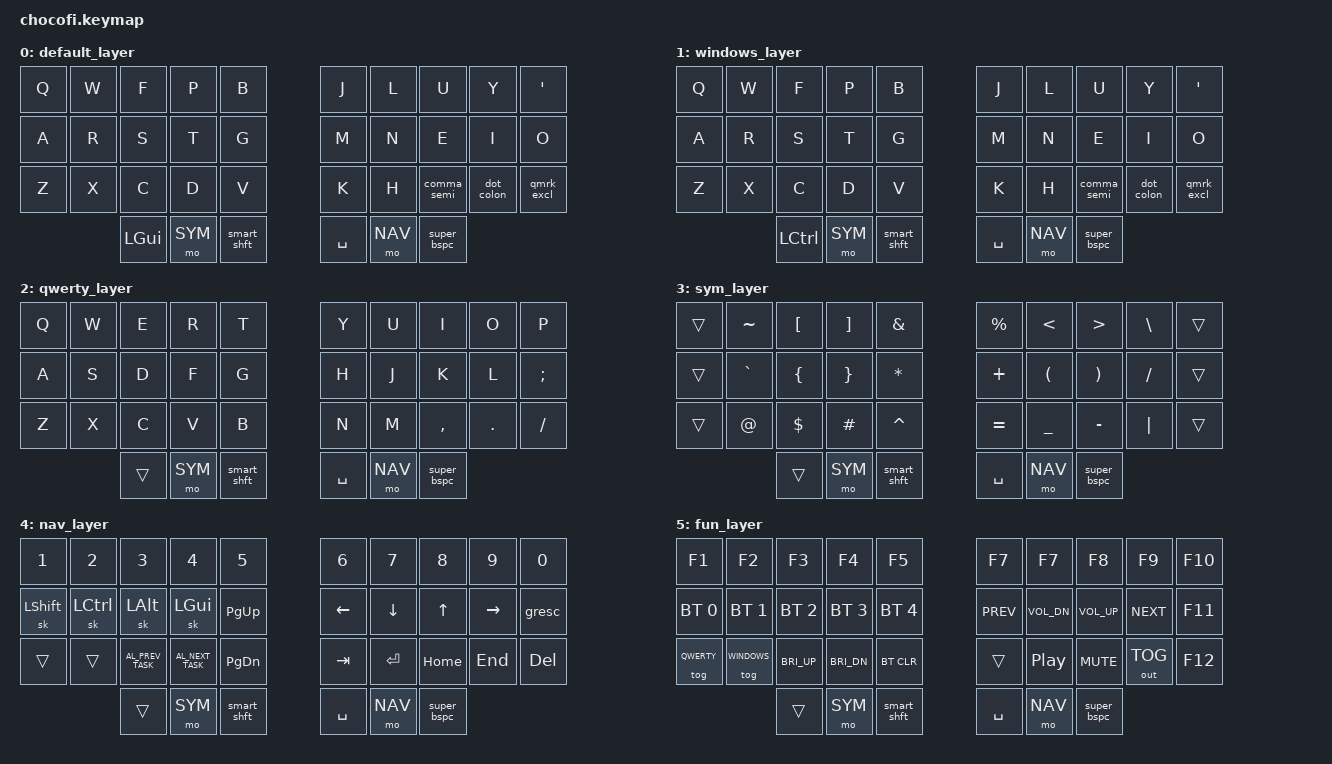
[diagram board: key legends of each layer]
/*
 * Copyright (c) 2020 The ZMK Contributors
 *
 * SPDX-License-Identifier: MIT
 */

#include <behaviors.dtsi>
#include <dt-bindings/zmk/keys.h>
#include <dt-bindings/zmk/bt.h>
#include <dt-bindings/zmk/outputs.h>

#define DEFAULT 0       /* Colemak-DHm */
#define WINDOWS 1       /* Toggled layer */
#define QWERTY 2        /* Toggled layer */
#define SYM 3           /* Symbols */
#define NAV 4           /* Navigation and Numbers */
#define FUN 5           /* Function, Media, Bluetooth, Layer toggle */

#define PT C_AL_PREV_TASK
#define NT C_AL_NEXT_TASK

/ {
    conditional_layers {
        compatible = "zmk,conditional-layers";
        tri_layer {
            if-layers = <SYM NAV>;
            then-layer = <FUN>;
        };
    };
    behaviors {
        bspc_del: backspace_delete {
            compatible = "zmk,behavior-mod-morph";
            #binding-cells = <0>;
            bindings = <&kp BACKSPACE>, <&kp DELETE>;
            mods = <(MOD_LSFT|MOD_RSFT)>;
            keep-mods = <(MOD_RSFT)>;
        };
        super_bspc: super_backspace {
            compatible = "zmk,behavior-mod-morph";
            #binding-cells = <0>;
            bindings = <&kp BACKSPACE>, <&kp LA(BACKSPACE)>;
            mods = <(MOD_LSFT|MOD_RSFT)>;
        };
        smart_shft: smart_shift {
            compatible = "zmk,behavior-mod-morph";
            #binding-cells = <0>;
            bindings = <&kp LSHFT>, <&caps_word>;
            mods = <(MOD_LSFT)>;
        };
        comma_semi: comma_semi {
            compatible = "zmk,behavior-mod-morph";
            #binding-cells = <0>;
            bindings = <&kp COMMA>, <&kp SEMI>;
            mods = <(MOD_LSFT)>;
        };
        dot_colon: dot_colon {
            compatible = "zmk,behavior-mod-morph";
            #binding-cells = <0>;
            bindings = <&kp DOT>, <&kp COLON>;
            mods = <(MOD_LSFT)>;
        };
        qmrk_excl: qmrk_excl {
            compatible = "zmk,behavior-mod-morph";
            #binding-cells = <0>;
            bindings = <&kp QMARK>, <&kp EXCL>;
            mods = <(MOD_LSFT)>;
        };
        slh_morph: slh_morph {
            compatible = "zmk,behavior-mod-morph";
            #binding-cells = <0>;
            bindings = <&kp FSLH>, <&kp BSLH>;
            mods = <(MOD_LSFT)>;
        };
        amps_morph: amps_morph {
            compatible = "zmk,behavior-mod-morph";
            #binding-cells = <0>;
            bindings = <&kp AMPS>, <&kp PIPE>;
            mods = <(MOD_LSFT)>;
        };
    };
    keymap {
        compatible = "zmk,keymap";
        default_layer {
            bindings = <
// ╭─────────────┬─────────────┬─────────────┬─────────────┬─────────────╮   ╭─────────────┬─────────────┬─────────────┬─────────────┬─────────────╮
        &kp Q         &kp W         &kp F         &kp P         &kp B             &kp J         &kp L         &kp U         &kp Y       &kp APOS
// ├─────────────┼─────────────┼─────────────┼─────────────┼─────────────┤   ├─────────────┼─────────────┼─────────────┼─────────────┼─────────────┤
        &kp A         &kp R         &kp S         &kp T         &kp G             &kp M         &kp N         &kp E         &kp I         &kp O
// ├─────────────┼─────────────┼─────────────┼─────────────┼─────────────┤   ├─────────────┼─────────────┼─────────────┼─────────────┼─────────────┤
        &kp Z         &kp X         &kp C         &kp D         &kp V             &kp K         &kp H      &comma_semi    &dot_colon    &qmrk_excl
// ╰─────────────┴─────────────┼─────────────┼─────────────┼─────────────┤   ├─────────────┼─────────────┼─────────────┼─────────────┴─────────────╯
                                   &kp LGUI      &mo SYM     &smart_shft        &kp SPACE      &mo NAV     &super_bspc
//                             ╰─────────────┴─────────────┴─────────────╯   ╰─────────────┴─────────────┴─────────────╯
            >;
        };
        windows_layer {
            bindings = <
// ╭─────────────┬─────────────┬─────────────┬─────────────┬─────────────╮   ╭─────────────┬─────────────┬─────────────┬─────────────┬─────────────╮
        &kp Q         &kp W         &kp F         &kp P         &kp B             &kp J         &kp L         &kp U         &kp Y       &kp APOS
// ├─────────────┼─────────────┼─────────────┼─────────────┼─────────────┤   ├─────────────┼─────────────┼─────────────┼─────────────┼─────────────┤
        &kp A         &kp R         &kp S         &kp T         &kp G             &kp M         &kp N         &kp E         &kp I         &kp O
// ├─────────────┼─────────────┼─────────────┼─────────────┼─────────────┤   ├─────────────┼─────────────┼─────────────┼─────────────┼─────────────┤
        &kp Z         &kp X         &kp C         &kp D         &kp V             &kp K         &kp H      &comma_semi    &dot_colon    &qmrk_excl
// ╰─────────────┴─────────────┼─────────────┼─────────────┼─────────────┤   ├─────────────┼─────────────┼─────────────┼─────────────┴─────────────╯
                                  &kp LCTRL      &mo SYM     &smart_shft        &kp SPACE      &mo NAV     &super_bspc
//                             ╰─────────────┴─────────────┴─────────────╯   ╰─────────────┴─────────────┴─────────────╯
            >;
        };
        qwerty_layer {
            bindings = <
// ╭─────────────┬─────────────┬─────────────┬─────────────┬─────────────╮   ╭─────────────┬─────────────┬─────────────┬─────────────┬─────────────╮
        &kp Q         &kp W         &kp E         &kp R         &kp T              &kp Y        &kp U         &kp I         &kp O         &kp P
// ├─────────────┼─────────────┼─────────────┼─────────────┼─────────────┤   ├─────────────┼─────────────┼─────────────┼─────────────┼─────────────┤
        &kp A         &kp S         &kp D         &kp F         &kp G              &kp H        &kp J         &kp K         &kp L       &kp SEMI
// ├─────────────┼─────────────┼─────────────┼─────────────┼─────────────┤   ├─────────────┼─────────────┼─────────────┼─────────────┼─────────────┤
        &kp Z         &kp X         &kp C         &kp V         &kp B              &kp N        &kp M       &kp COMMA      &kp DOT      &kp FSLH
// ╰─────────────┴─────────────┼─────────────┼─────────────┼─────────────┤   ├─────────────┼─────────────┼─────────────┼─────────────┴─────────────╯
                                    &trans       &mo SYM     &smart_shft        &kp SPACE      &mo NAV     &super_bspc
//                             ╰─────────────┴─────────────┴─────────────╯   ╰─────────────┴─────────────┴─────────────╯
            >;
        };
        sym_layer {
            bindings = <
// ╭─────────────┬─────────────┬─────────────┬─────────────┬─────────────╮   ╭─────────────┬─────────────┬─────────────┬─────────────┬─────────────╮
       &trans       &kp TILDE      &kp LBKT      &kp RBKT     &kp AMPS         &kp PRCNT       &kp LT        &kp GT      &kp BSLH        &trans
// ├─────────────┼─────────────┼─────────────┼─────────────┼─────────────┤   ├─────────────┼─────────────┼─────────────┼─────────────┼─────────────┤
       &trans       &kp GRAVE      &kp LBRC      &kp RBRC     &kp STAR          &kp PLUS      &kp LPAR      &kp RPAR      &kp FSLH        &trans
// ├─────────────┼─────────────┼─────────────┼─────────────┼─────────────┤   ├─────────────┼─────────────┼─────────────┼─────────────┼─────────────┤
       &trans        &kp AT        &kp DLLR      &kp HASH     &kp CARET         &kp EQUAL     &kp UNDER     &kp MINUS     &kp PIPE        &trans
// ╰─────────────┴─────────────┼─────────────┼─────────────┼─────────────┤   ├─────────────┼─────────────┼─────────────┼─────────────┴─────────────╯
                                    &trans       &mo SYM     &smart_shft        &kp SPACE      &mo NAV     &super_bspc
//                             ╰─────────────┴─────────────┴─────────────╯   ╰─────────────┴─────────────┴─────────────╯
            >;
        };
        nav_layer {
            bindings = <
// ╭─────────────┬─────────────┬─────────────┬─────────────┬─────────────╮   ╭─────────────┬─────────────┬─────────────┬─────────────┬─────────────╮
        &kp N1       &kp N2         &kp N3        &kp N4        &kp N5            &kp N6        &kp N7        &kp N8        &kp N9        &kp N0
// ├─────────────┼─────────────┼─────────────┼─────────────┼─────────────┤   ├─────────────┼─────────────┼─────────────┼─────────────┼─────────────┤
      &sk LSHFT     &sk LCTRL      &sk LALT      &sk LGUI     &kp PG_UP          &kp LEFT      &kp DOWN       &kp UP      &kp RIGHT       &gresc
// ├─────────────┼─────────────┼─────────────┼─────────────┼─────────────┤   ├─────────────┼─────────────┼─────────────┼─────────────┼─────────────┤
        &trans       &trans         &kp PT        &kp NT      &kp PG_DN          &kp TAB       &kp RET       &kp HOME      &kp END        &kp DEL
// ╰─────────────┴─────────────┼─────────────┼─────────────┼─────────────┤   ├─────────────┼─────────────┼─────────────┼─────────────┴─────────────╯
                                    &trans       &mo SYM     &smart_shft        &kp SPACE      &mo NAV     &super_bspc
//                             ╰─────────────┴─────────────┴─────────────╯   ╰─────────────┴─────────────┴─────────────╯
            >;
        };
        fun_layer {
            bindings = <
// ╭─────────────┬─────────────┬─────────────┬─────────────┬─────────────╮   ╭─────────────┬─────────────┬─────────────┬─────────────┬─────────────╮
        &kp F1       &kp F2        &kp F3        &kp F4         &kp F5            &kp F7        &kp F7        &kp F8        &kp F9       &kp F10
// ├─────────────┼─────────────┼─────────────┼─────────────┼─────────────┤   ├─────────────┼─────────────┼─────────────┼─────────────┼─────────────┤
     &bt BT_SEL 0  &bt BT_SEL 1  &bt BT_SEL 2  &bt BT_SEL 3  &bt BT_SEL 4      &kp C_PREV    &kp C_VOL_DN  &kp C_VOL_UP   &kp C_NEXT     &kp F11
// ├─────────────┼─────────────┼─────────────┼─────────────┼─────────────┤   ├─────────────┼─────────────┼─────────────┼─────────────┼─────────────┤
     &tog QWERTY   &tog WINDOWS  &kp C_BRI_UP  &kp C_BRI_DN   &bt BT_CLR          &trans       &kp C_PP    &kp C_MUTE    &out OUT_TOG    &kp F12
// ╰─────────────┴─────────────┼─────────────┼─────────────┼─────────────┤   ├─────────────┼─────────────┼─────────────┼─────────────┴─────────────╯
                                    &trans       &mo SYM     &smart_shft        &kp SPACE      &mo NAV     &super_bspc
//                             ╰─────────────┴─────────────┴─────────────╯   ╰─────────────┴─────────────┴─────────────╯
            >;
        };
    };
};
